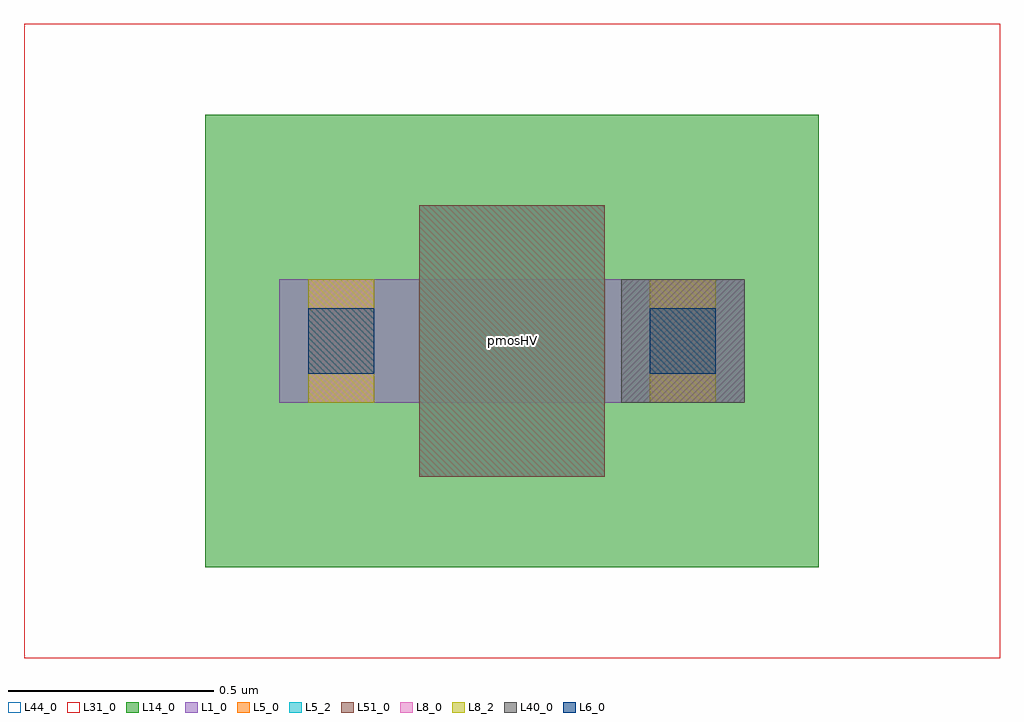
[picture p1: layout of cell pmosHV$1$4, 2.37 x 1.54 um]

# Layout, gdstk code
import gdstk
lib = gdstk.Library(unit=1e-6, precision=1e-09)
def R(c, l, rs):  # rectangles x0, y0, x1, y1
    for r in rs: c.add(gdstk.rectangle(r[:2], r[2:], *l))
L1_0 = (1, 0)
L5_0 = (5, 0)
L5_2 = (5, 2)
L6_0 = (6, 0)
L8_0 = (8, 0)
L8_2 = (8, 2)
L14_0 = (14, 0)
L31_0 = (31, 0)
L40_0 = (40, 0)
L44_0 = (44, 0)
L51_0 = (51, 0)

pmoshv_1_4 = lib.new_cell('pmosHV$1$4')
R(pmoshv_1_4, L1_0, [(0,0,0.3,0.3), (0,0,1.13,0.3), (0.83,0,1.13,0.3)])
R(pmoshv_1_4, L5_0, [(0.34,-0.18,0.79,0.48)])
R(pmoshv_1_4, L5_2, [(0.34,-0.18,0.79,0.48)])
R(pmoshv_1_4, L6_0, [(0.07,0.07,0.23,0.23), (0.9,0.07,1.06,0.23)])
R(pmoshv_1_4, L8_0, [(0.07,0,0.23,0.3), (0.9,0,1.06,0.3)])
R(pmoshv_1_4, L8_2, [(0.07,0,0.23,0.3), (0.9,0,1.06,0.3)])
R(pmoshv_1_4, L14_0, [(-0.18,-0.4,1.31,0.7)])
R(pmoshv_1_4, L31_0, [(-0.62,-0.62,1.75,0.92)])
R(pmoshv_1_4, L40_0, [(0.83,0,1.13,0.3)])
R(pmoshv_1_4, L44_0, [(-0.62,-0.62,1.75,0.92)])
R(pmoshv_1_4, L51_0, [(0.34,-0.18,0.79,0.48)])
pmoshv_1_4.add(gdstk.Label('pmosHV', (0.565,0.15), layer=63, texttype=0))
pmoshv_1_4.add(gdstk.Label('pmos', (0.565,0.15), layer=51, texttype=0))

lib.write_gds('pmosHV_1_4.gds')
